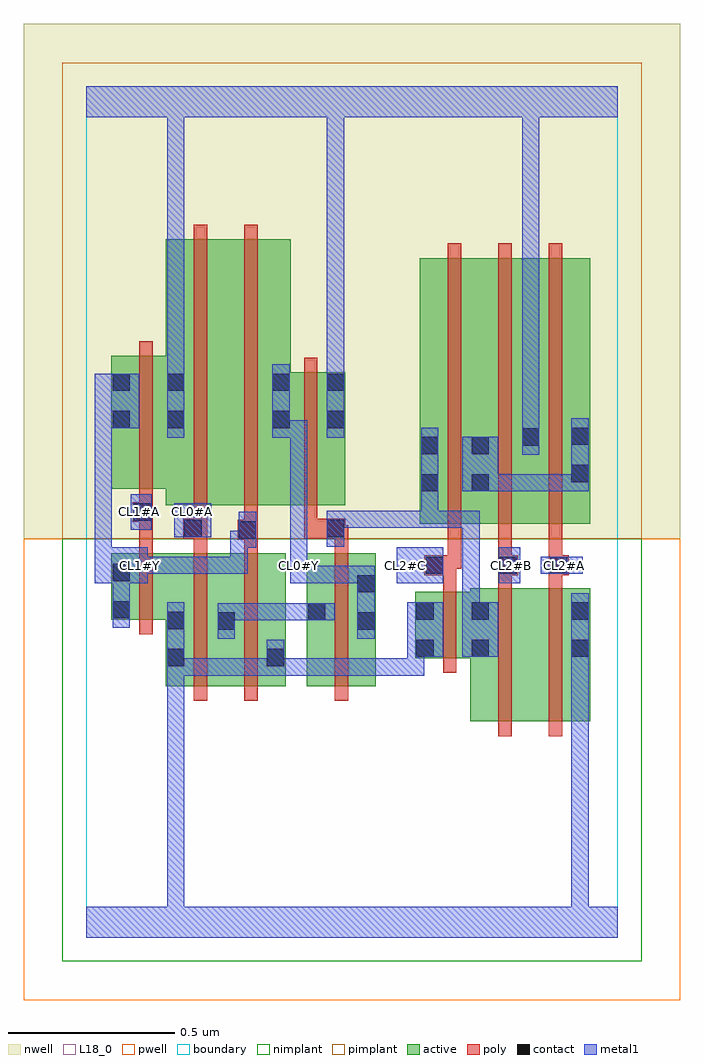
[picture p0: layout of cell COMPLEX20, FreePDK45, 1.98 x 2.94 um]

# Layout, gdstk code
import gdstk
lib = gdstk.Library(unit=1e-6, precision=1e-09)
def R(c, l, rs):  # rectangles x0, y0, x1, y1
    for r in rs: c.add(gdstk.rectangle(r[:2], r[2:], *l))
def A(c, l, x, y, w, h, nx, ny, dx, dy):  # array of equal rectangles
    R(c, l, [(x+i*dx, y+j*dy, x+i*dx+w, y+j*dy+h) for i in range(nx) for j in range(ny)])
active = (1, 0)
pwell = (2, 0)
nwell = (3, 0)
nimplant = (4, 0)
pimplant = (5, 0)
poly = (9, 0)
contact = (10, 0)
metal1 = (11, 0)
L18_0 = (18, 0)
boundary = (235, 0)

complex20 = lib.new_cell('COMPLEX20')
R(complex20, active, [(1.156,0.65,1.336,1.05), (1.336,0.65,1.516,1.05), (0.24,0.756,0.3,1.156), (0.24,0.756,0.452,1.156), (0.392,0.756,0.452,1.156), (0.392,0.756,0.6,1.156), (0.54,0.756,0.6,1.156), (0.664,0.756,0.724,1.156), (0.664,0.756,0.872,1.156), (0.812,0.756,0.872,1.156), (1.456,0.756,1.516,1.05), (0.99,0.84,1.05,1.04), (0.99,0.84,1.216,1.04), (1.156,0.84,1.216,1.04), (0.076,0.956,0.136,1.156), (0.076,0.956,0.3,1.156), (1.004,1.244,1.064,2.044), (1.004,1.244,1.216,2.044), (1.156,1.244,1.216,2.044), (1.156,1.244,1.368,2.044), (1.308,1.244,1.516,2.044), (1.456,1.244,1.516,2.044), (0.24,1.3,0.42,2.1), (0.42,1.3,0.616,2.1), (0.556,1.3,0.78,1.7), (0.72,1.3,0.78,1.7), (1.308,1.31,1.368,2.044), (0.556,1.334,0.616,2.1), (0.076,1.35,0.136,1.75), (0.076,1.35,0.3,1.75), (0.24,1.35,0.3,2.096)])
R(complex20, pwell, [(-0.188,-0.188,1.788,1.2)])
R(complex20, nwell, [(-0.188,1.2,1.788,2.748)])
R(complex20, nimplant, [(-0.072,-0.072,1.672,1.2)])
R(complex20, pimplant, [(-0.072,1.2,1.672,2.632)])
A(complex20, poly, 1.088, 1.11, 0.04, 0.13, 3, 1, 0.152, 0)
A(complex20, poly, 1.088, 1.2, 0.04, 0.888, 3, 1, 0.152, 0)
R(complex20, poly, [(1.24,0.606,1.28,1.094), (1.392,0.606,1.432,1.094), (0.324,0.712,0.364,1.2), (0.476,0.712,0.516,1.2), (0.748,0.712,0.788,1.2), (1.074,0.796,1.114,1.084), (0.16,0.912,0.2,1.2), (1.074,1.044,1.114,1.13), (1.24,1.054,1.28,1.13), (1.392,1.054,1.432,1.13), (1.018,1.09,1.114,1.15), (1.24,1.09,1.28,1.13), (1.24,1.09,1.28,1.13), (1.24,1.09,1.3,1.15), (1.392,1.09,1.452,1.15), (1.074,1.11,1.114,1.15), (1.074,1.11,1.128,1.15), (1.392,1.11,1.432,1.15), (1.392,1.11,1.432,1.15), (0.16,1.16,0.2,1.29), (0.324,1.16,0.364,1.24), (0.476,1.16,0.516,1.236), (0.748,1.16,0.788,1.24), (0.456,1.196,0.516,1.256), (0.292,1.2,0.364,1.26), (0.324,1.2,0.364,1.24), (0.324,1.2,0.364,1.24), (0.656,1.2,0.78,1.26), (0.74,1.2,0.78,1.24), (0.74,1.2,0.788,1.24), (0.476,1.216,0.516,1.256), (0.476,1.216,0.516,1.256), (0.476,1.216,0.516,1.296), (0.324,1.22,0.364,1.296), (0.656,1.22,0.696,1.296), (0.14,1.25,0.2,1.31), (0.16,1.25,0.2,1.29), (0.16,1.25,0.2,1.29), (0.324,1.256,0.364,2.144), (0.476,1.256,0.516,2.144), (0.656,1.256,0.696,1.744), (0.16,1.27,0.2,1.346), (0.16,1.306,0.2,1.794)])
R(complex20, contact, [(0.244,0.816,0.296,0.868), (0.544,0.816,0.596,0.868), (0.994,0.844,1.046,0.896), (1.16,0.844,1.212,0.896), (1.46,0.844,1.512,0.896), (0.396,0.926,0.448,0.978), (0.816,0.926,0.868,0.978), (0.244,0.928,0.296,0.98), (0.668,0.954,0.72,1.006), (0.994,0.956,1.046,1.008), (1.16,0.956,1.212,1.008), (1.46,0.956,1.512,1.008), (0.08,0.96,0.132,1.012), (0.816,1.038,0.868,1.09), (0.08,1.072,0.132,1.124), (1.022,1.094,1.074,1.146), (1.244,1.094,1.296,1.146), (1.396,1.094,1.448,1.146), (0.46,1.2,0.512,1.252), (0.296,1.204,0.348,1.256), (0.724,1.204,0.776,1.256), (0.144,1.254,0.196,1.306), (1.008,1.342,1.06,1.394), (1.16,1.342,1.212,1.394), (1.46,1.37,1.512,1.422), (1.008,1.454,1.06,1.506), (1.16,1.454,1.212,1.506), (1.312,1.48,1.364,1.532), (1.46,1.482,1.512,1.534), (0.08,1.532,0.132,1.584), (0.244,1.532,0.296,1.584), (0.56,1.532,0.612,1.584), (0.724,1.532,0.776,1.584), (0.08,1.644,0.132,1.696), (0.244,1.644,0.296,1.696), (0.56,1.644,0.612,1.696), (0.724,1.644,0.776,1.696)])
R(complex20, metal1, [(0,0,1.6,0.092), (0.244,0.04,0.296,0.092), (0.244,0.04,0.296,0.092), (0.244,0.04,0.296,0.092), (0.244,0.04,0.296,0.092), (0.244,0.04,0.296,0.092), (0.244,0.04,0.296,0.092), (0.244,0.04,0.296,0.092), (0.244,0.04,0.296,0.092), (0.244,0.04,0.296,0.092), (0.244,0.04,0.296,0.092), (0.244,0.04,0.296,0.092), (0.244,0.04,0.296,0.092), (0.244,0.04,0.296,0.84), (1.46,0.04,1.512,0.092), (1.46,0.04,1.512,0.092), (1.46,0.04,1.512,0.092), (1.46,0.04,1.512,0.092), (1.46,0.04,1.512,0.092), (1.46,0.04,1.512,0.092), (1.46,0.04,1.512,0.092), (1.46,0.04,1.512,0.092), (1.46,0.04,1.512,0.092), (1.46,0.04,1.512,0.092), (1.46,0.04,1.512,0.092), (1.46,0.04,1.512,0.092), (1.46,0.04,1.512,0.868), (0.244,0.788,0.296,0.84), (0.244,0.788,0.296,0.84), (0.244,0.788,0.296,1.008), (0.244,0.788,0.406,0.84), (0.354,0.788,0.406,0.84), (0.354,0.788,0.406,0.84), (0.354,0.788,0.406,0.84), (0.354,0.788,0.596,0.84), (0.544,0.788,0.596,0.84), (0.544,0.788,0.596,0.84), (0.544,0.788,0.596,0.896), (0.544,0.788,0.876,0.84), (0.824,0.788,0.876,0.84), (0.824,0.788,0.876,0.84), (0.824,0.788,0.876,0.84), (0.824,0.788,1.018,0.84), (0.966,0.788,1.018,0.84), (0.966,0.788,1.018,0.84), (0.966,0.788,1.018,0.84), (0.966,0.788,1.018,0.896), (1.46,0.816,1.512,1.036), (0.966,0.844,1.074,1.008), (1.132,0.844,1.24,1.008), (0.396,0.898,0.448,1.006), (0.816,0.898,0.868,1.118), (0.08,0.932,0.132,1.152), (0.396,0.954,0.448,1.006), (0.396,0.954,0.448,1.006), (0.396,0.954,0.666,1.006), (0.614,0.954,0.666,1.006), (0.614,0.954,0.692,1.006), (0.64,0.954,0.748,1.006), (1.132,0.956,1.184,1.008), (1.132,0.956,1.184,1.008), (1.132,0.956,1.184,1.284), (0.026,1.066,0.186,1.174), (0.614,1.066,0.666,1.174), (0.614,1.066,0.868,1.118), (0.816,1.066,0.868,1.118), (0.816,1.066,0.868,1.118), (0.816,1.066,0.868,1.118), (0.816,1.066,0.868,1.118), (0.934,1.066,1.074,1.174), (1.242,1.066,1.306,1.174), (0.08,1.094,0.132,1.146), (0.134,1.094,0.186,1.146), (0.134,1.094,0.186,1.146), (0.134,1.094,0.296,1.146), (0.244,1.094,0.296,1.146), (0.244,1.094,0.296,1.146), (0.244,1.094,0.296,1.146), (0.244,1.094,0.486,1.146), (0.434,1.094,0.486,1.224), (1.368,1.094,1.494,1.146), (0.026,1.122,0.078,1.584), (0.614,1.122,0.666,1.556), (0.434,1.172,0.512,1.224), (0.46,1.172,0.512,1.28), (0.724,1.176,0.776,1.284), (0.266,1.204,0.376,1.306), (0.134,1.226,0.198,1.334), (0.724,1.232,0.776,1.284), (0.724,1.232,0.776,1.284), (0.724,1.232,1.06,1.284), (1.008,1.232,1.06,1.284), (1.008,1.232,1.06,1.284), (1.008,1.232,1.06,1.284), (1.008,1.232,1.184,1.284), (1.008,1.232,1.06,1.366), (1.132,1.232,1.184,1.284), (1.008,1.314,1.06,1.534), (1.132,1.342,1.24,1.506), (1.188,1.342,1.24,1.394), (1.188,1.342,1.24,1.394), (1.188,1.342,1.402,1.394), (1.35,1.342,1.402,1.394), (1.35,1.342,1.512,1.394), (1.46,1.342,1.512,1.394), (1.46,1.342,1.512,1.394), (1.46,1.342,1.512,1.562), (1.312,1.452,1.364,1.56), (0.244,1.504,0.296,1.724), (0.56,1.504,0.612,1.556), (0.56,1.504,0.612,1.724), (0.56,1.504,0.666,1.556), (0.724,1.504,0.776,1.724), (1.312,1.508,1.364,1.56), (1.312,1.508,1.364,1.56), (1.312,1.508,1.364,2.52), (0.026,1.532,0.078,1.584), (0.026,1.532,0.078,1.584), (0.026,1.532,0.16,1.696), (0.244,1.672,0.296,1.724), (0.244,1.672,0.296,1.724), (0.244,1.672,0.296,1.724), (0.244,1.672,0.296,1.724), (0.244,1.672,0.296,2.52), (0.724,1.672,0.776,1.724), (0.724,1.672,0.776,1.724), (0.724,1.672,0.776,1.724), (0.724,1.672,0.776,1.724), (0.724,1.672,0.776,1.724), (0.724,1.672,0.776,1.724), (0.724,1.672,0.776,1.724), (0.724,1.672,0.776,1.724), (0.724,1.672,0.776,1.724), (0.724,1.672,0.776,1.724), (0.724,1.672,0.776,1.724), (0.724,1.672,0.776,1.724), (0.724,1.672,0.776,2.52), (0,2.468,1.6,2.56), (0.244,2.468,0.296,2.52), (0.244,2.468,0.296,2.52), (0.244,2.468,0.296,2.52), (0.244,2.468,0.296,2.52), (0.724,2.468,0.776,2.52), (0.724,2.468,0.776,2.52), (0.724,2.468,0.776,2.52), (0.724,2.468,0.776,2.52), (1.312,2.468,1.364,2.52), (1.312,2.468,1.364,2.52), (1.312,2.468,1.364,2.52), (1.312,2.468,1.364,2.52), (1.312,2.468,1.364,2.52), (1.312,2.468,1.364,2.52)])
A(complex20, L18_0, 0.614, 1.094, 0.052, 0.052, 3, 1, 0.32, 0)
R(complex20, L18_0, [(0,0,1.6,0.092), (0.244,0.04,0.296,0.092), (0.244,0.04,0.296,0.092), (0.244,0.04,0.296,0.092), (0.244,0.04,0.296,0.092), (0.244,0.04,0.296,0.092), (0.244,0.04,0.296,0.092), (0.244,0.04,0.296,0.092), (0.244,0.04,0.296,0.092), (0.244,0.04,0.296,0.092), (0.244,0.04,0.296,0.092), (0.244,0.04,0.296,0.092), (0.244,0.04,0.296,0.092), (0.244,0.04,0.296,0.84), (1.46,0.04,1.512,0.092), (1.46,0.04,1.512,0.092), (1.46,0.04,1.512,0.092), (1.46,0.04,1.512,0.092), (1.46,0.04,1.512,0.092), (1.46,0.04,1.512,0.092), (1.46,0.04,1.512,0.092), (1.46,0.04,1.512,0.092), (1.46,0.04,1.512,0.092), (1.46,0.04,1.512,0.092), (1.46,0.04,1.512,0.092), (1.46,0.04,1.512,0.092), (1.46,0.04,1.512,0.868), (0.244,0.788,0.296,1.008), (0.244,0.788,0.296,0.84), (0.244,0.788,0.296,0.84), (0.244,0.788,0.406,0.84), (0.354,0.788,0.406,0.84), (0.354,0.788,0.406,0.84), (0.354,0.788,0.406,0.84), (0.354,0.788,0.596,0.84), (0.544,0.788,0.596,0.84), (0.544,0.788,0.596,0.84), (0.544,0.788,0.596,0.896), (0.544,0.788,0.876,0.84), (0.824,0.788,0.876,0.84), (0.824,0.788,0.876,0.84), (0.824,0.788,0.876,0.84), (0.824,0.788,1.018,0.84), (0.966,0.788,1.018,0.84), (0.966,0.788,1.018,0.84), (0.966,0.788,1.018,0.84), (0.966,0.788,1.018,0.896), (1.46,0.816,1.512,1.036), (0.966,0.844,1.074,1.008), (0.816,0.898,0.868,1.118), (0.08,0.932,0.132,1.152), (0.026,1.066,0.186,1.174), (0.614,1.066,0.666,1.174), (0.614,1.066,0.868,1.118), (0.816,1.066,0.868,1.118), (0.816,1.066,0.868,1.118), (0.816,1.066,0.868,1.118), (0.816,1.066,0.868,1.118), (0.934,1.066,1.074,1.174), (1.242,1.066,1.306,1.174), (0.08,1.094,0.132,1.146), (0.134,1.094,0.186,1.146), (0.134,1.094,0.186,1.146), (0.134,1.094,0.186,1.146), (0.134,1.094,0.296,1.146), (0.244,1.094,0.296,1.146), (0.244,1.094,0.296,1.146), (0.244,1.094,0.296,1.146), (0.244,1.094,0.486,1.146), (0.434,1.094,0.486,1.224), (1.368,1.094,1.494,1.146), (1.414,1.094,1.466,1.146), (0.026,1.122,0.078,1.584), (0.614,1.122,0.666,1.556), (0.434,1.172,0.512,1.224), (0.46,1.172,0.512,1.28), (0.266,1.204,0.376,1.306), (0.134,1.226,0.198,1.334), (0.134,1.254,0.186,1.306), (0.294,1.254,0.346,1.306), (1.312,1.452,1.364,1.56), (0.244,1.504,0.296,1.724), (0.56,1.504,0.612,1.724), (0.56,1.504,0.612,1.556), (0.56,1.504,0.666,1.556), (0.724,1.504,0.776,1.724), (1.312,1.508,1.364,1.56), (1.312,1.508,1.364,1.56), (1.312,1.508,1.364,2.52), (0.026,1.532,0.078,1.584), (0.026,1.532,0.078,1.584), (0.026,1.532,0.16,1.696), (0.244,1.672,0.296,1.724), (0.244,1.672,0.296,1.724), (0.244,1.672,0.296,1.724), (0.244,1.672,0.296,1.724), (0.244,1.672,0.296,2.52), (0.724,1.672,0.776,1.724), (0.724,1.672,0.776,1.724), (0.724,1.672,0.776,1.724), (0.724,1.672,0.776,1.724), (0.724,1.672,0.776,1.724), (0.724,1.672,0.776,1.724), (0.724,1.672,0.776,1.724), (0.724,1.672,0.776,1.724), (0.724,1.672,0.776,1.724), (0.724,1.672,0.776,1.724), (0.724,1.672,0.776,1.724), (0.724,1.672,0.776,1.724), (0.724,1.672,0.776,2.52), (0,2.468,1.6,2.56), (0.244,2.468,0.296,2.52), (0.244,2.468,0.296,2.52), (0.244,2.468,0.296,2.52), (0.244,2.468,0.296,2.52), (0.724,2.468,0.776,2.52), (0.724,2.468,0.776,2.52), (0.724,2.468,0.776,2.52), (0.724,2.468,0.776,2.52), (1.312,2.468,1.364,2.52), (1.312,2.468,1.364,2.52), (1.312,2.468,1.364,2.52), (1.312,2.468,1.364,2.52), (1.312,2.468,1.364,2.52), (1.312,2.468,1.364,2.52)])
R(complex20, boundary, [(0,0,1.6,2.56)])
complex20.add(gdstk.Label('CL0#A', (0.32,1.28), layer=11, texttype=0))
complex20.add(gdstk.Label('CL0#Y', (0.64,1.12), layer=11, texttype=0))
complex20.add(gdstk.Label('CL1#A', (0.16,1.28), layer=11, texttype=0))
complex20.add(gdstk.Label('CL1#Y', (0.16,1.12), layer=11, texttype=0))
complex20.add(gdstk.Label('CL2#A', (1.44,1.12), layer=11, texttype=0))
complex20.add(gdstk.Label('CL2#B', (1.28,1.12), layer=11, texttype=0))
complex20.add(gdstk.Label('CL2#C', (0.96,1.12), layer=11, texttype=0))

lib.write_gds('COMPLEX20.gds')
